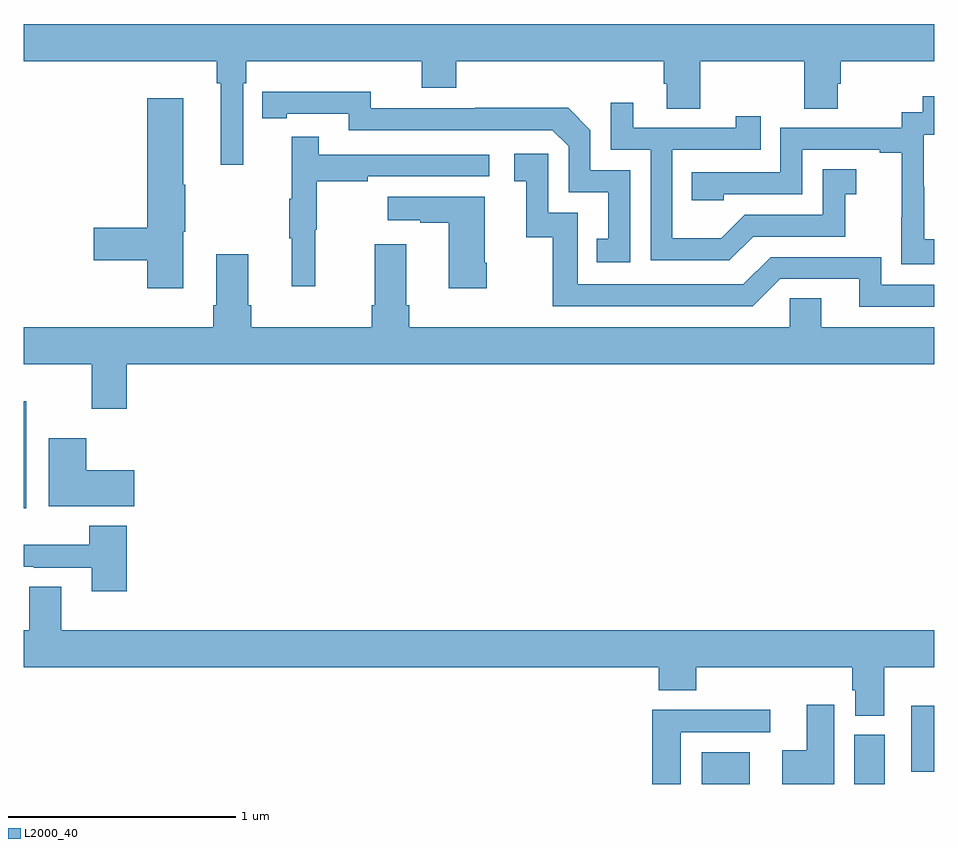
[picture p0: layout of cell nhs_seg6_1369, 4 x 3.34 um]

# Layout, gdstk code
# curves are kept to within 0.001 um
import gdstk
lib = gdstk.Library(unit=1e-6, precision=1e-09)
def R(c, l, rs):  # rectangles x0, y0, x1, y1
    for r in rs: c.add(gdstk.rectangle(r[:2], r[2:], *l))
def P(c, l, *ps):  # polygons
    for p in ps: c.add(gdstk.Polygon(p, *l))
L2000_40 = (2000, 40)

nhs_seg6_1369 = lib.new_cell('nhs_seg6_1369')
R(nhs_seg6_1369, L2000_40, [(197.978,937.5,198.19,937.639), (198.65,937.5,198.784,937.716), (198.899,937.553,199,937.843), (195,938.712,195.01,939.181)])
P(nhs_seg6_1369, L2000_40, [(195.963,940.58),(195.977,940.58),(195.977,940.676),(196.748,940.676),(196.748,940.559),(196.901,940.559),(196.901,940.676),(197.813,940.676),(197.813,940.578),(197.825,940.578),(197.825,940.468),(197.973,940.468),(197.973,940.676),(198.43,940.676),(198.43,940.468),(198.577,940.468),(198.577,940.578),(198.59,940.578),(198.59,940.676),(199,940.676),(199,940.84),(195,940.84),(195,940.676),(195.847,940.676),(195.847,940.58),(195.866,940.58),(195.866,940.221),(195.963,940.221)],
  [(197.664,940.197),(197.49,940.197),(197.49,940.374),(197.392,940.472),(196.984,940.472),(196.984,940.47),(196.524,940.47),(196.524,940.543),(196.048,940.542),(196.048,940.426),(196.156,940.426),(196.156,940.446),(196.428,940.446),(196.428,940.374),(197.322,940.374),(197.394,940.302),(197.394,940.101),(197.567,940.101),(197.567,939.897),(197.518,939.897),(197.518,939.792),(197.664,939.792)],
  [(199,939.895),(198.956,939.895),(198.956,940.124),(198.954,940.124),(198.954,940.353),(199,940.353),(199,940.522),(198.951,940.522),(198.951,940.452),(198.858,940.452),(198.858,940.383),(198.324,940.383),(198.324,940.188),(197.935,940.188),(197.935,940.065),(198.075,940.065),(198.075,940.092),(198.42,940.092),(198.42,940.287),(198.761,940.287),(198.761,940.275),(198.857,940.275),(198.857,939.991),(198.856,939.991),(198.856,939.785),(199,939.785)],
  [(195.7,939.927),(195.708,939.927),(195.708,940.133),(195.7,940.133),(195.7,940.513),(195.542,940.513),(195.542,939.944),(195.306,939.944),(195.306,939.802),(195.542,939.802),(195.542,939.678),(195.7,939.678)],
  [(198.205,939.906),(198.609,939.906),(198.609,940.091),(198.658,940.091),(198.658,940.201),(198.51,940.201),(198.51,940.002),(198.168,940.002),(198.064,939.898),(197.85,939.898),(197.85,940.287),(198.239,940.287),(198.239,940.435),(198.128,940.435),(198.128,940.383),(197.677,940.383),(197.677,940.495),(197.58,940.495),(197.58,940.287),(197.754,940.287),(197.754,939.801),(198.1,939.801)],
  [(196.28,939.936),(196.288,939.936),(196.288,940.15),(196.511,940.15),(196.511,940.17),(197.044,940.17),(197.044,940.266),(196.295,940.266),(196.295,940.345),(196.178,940.345),(196.178,940.073),(196.167,940.073),(196.167,939.899),(196.178,939.899),(196.178,939.687),(196.28,939.687)],
  [(199,939.693),(198.768,939.693),(198.768,939.816),(198.282,939.816),(198.162,939.696),(197.433,939.696),(197.433,940.011),(197.304,940.011),(197.304,940.27),(197.154,940.27),(197.154,940.149),(197.207,940.149),(197.207,939.903),(197.325,939.903),(197.325,939.6),(198.204,939.6),(198.324,939.72),(198.671,939.72),(198.671,939.597),(199,939.597)],
  [(197.034,939.79),(197.026,939.79),(197.026,940.081),(196.599,940.081),(196.599,939.977),(196.742,939.977),(196.742,939.967),(196.868,939.967),(196.868,939.678),(197.034,939.678)],
  [(195.452,939.344),(199,939.344),(199,939.508),(198.505,939.508),(198.505,939.635),(198.366,939.635),(198.366,939.508),(196.694,939.508),(196.694,939.604),(196.681,939.604),(196.681,939.871),(196.541,939.871),(196.541,939.604),(196.529,939.604),(196.529,939.508),(195.998,939.508),(195.998,939.604),(195.985,939.604),(195.985,939.829),(195.845,939.829),(195.845,939.604),(195.833,939.604),(195.833,939.508),(195,939.508),(195,939.344),(195.299,939.344),(195.299,939.15),(195.452,939.15)],
  [(195.484,938.878),(195.274,938.878),(195.274,939.019),(195.11,939.019),(195.11,938.72),(195.484,938.72)],
  [(195.452,938.635),(195.287,938.635),(195.287,938.551),(195,938.551),(195,938.454),(195.043,938.454),(195.043,938.451),(195.299,938.451),(195.299,938.346),(195.452,938.346)],
  [(198.781,938.012),(199,938.012),(199,938.176),(195.163,938.176),(195.163,938.366),(195.023,938.366),(195.023,938.176),(195,938.176),(195,938.012),(197.789,938.012),(197.789,937.913),(197.954,937.913),(197.954,938.012),(198.641,938.012),(198.641,937.911),(198.653,937.911),(198.653,937.801),(198.781,937.801)],
  [(198.562,937.849),(198.44,937.849),(198.44,937.648),(198.332,937.648),(198.332,937.5),(198.562,937.5)],
  [(197.887,937.728),(198.28,937.728),(198.28,937.826),(197.762,937.826),(197.762,937.5),(197.887,937.5)])

lib.write_gds('nhs_seg6_1369.gds')
